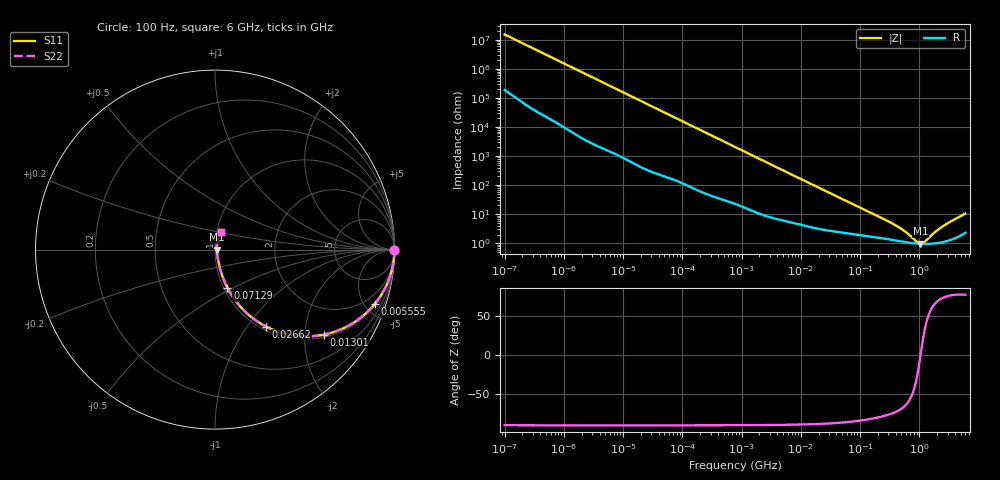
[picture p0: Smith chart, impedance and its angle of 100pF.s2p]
!Murata Part Number: GRM033R61E101KA01
!These Parameters are Measured in Series Mode Connection
!  o--ll--o
!Port1  Port2
!  o------o
!Operation Temp=25[degC], DC Bias Voltage=0[V]
!Freq. Start=100[Hz] Stop=6[GHz], 401[Steps]
!Data Generated on Aug 1, 2022
# Hz S RI R 50
!Freq.(Hz) S11(Real) S11(Imag) S21(Real) S21(Imag) S12(Real) S12(Imag) S22(Real) S22(Imag)
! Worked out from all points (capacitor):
!   401 points, 100 Hz to 6 GHz, reference 50 ohm
!   read as one part in series: C = 103 pF near 109.4 Hz
!   lowest |Z| = 957 mohm at 1.047 GHz (marker M1)
!   series resonance near 1.05 GHz, so ESL is about 220 pH
!   S11 on the Smith chart (normalised r, x): 100 Hz: open; 5.555 MHz: 1.12, -5.81; 13.01 MHz: 1.08, -2.51; 26.62 MHz: 1.06, -1.23; 71.29 MHz: 1.04, -0.47; 6 GHz: 1.05, +0.20
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100  1 -6.51e-06  8.01e-08 6.51e-06  8.01e-08 6.51e-06  1 -6.51e-06
1403.71  1 -9.03e-05  5.31e-07 9.03e-05  5.31e-07 9.03e-05  1 -9.03e-05
2008.354  1 -0.000129  7.05e-07 0.000129  7.05e-07 0.000129  1 -0.000129
40334.87  1 -0.00257  2.19e-05 0.00257  2.19e-05 0.00257  1 -0.00257
774596.7  0.9971 -0.0484  0.00289 0.0484  0.00289 0.0484  0.9971 -0.0484
2268635  0.9787 -0.138  0.0213 0.138  0.0213 0.138  0.9787 -0.138
5554849  0.8895 -0.3038  0.1105 0.3038  0.1105 0.3038  0.8895 -0.3038
8311524  0.7863 -0.3979  0.2137 0.3979  0.2137 0.3979  0.7863 -0.3979
1.300572e7  0.608 -0.4733  0.392 0.4733  0.392 0.4733  0.608 -0.4733
1.555665e7  0.5238 -0.4831  0.4762 0.4831  0.4762 0.4831  0.5238 -0.4831
2.662321e7  0.285 -0.4292  0.715 0.4292  0.715 0.4292  0.285 -0.4292
4.165952e7  0.1514 -0.3289  0.8486 0.3289  0.8486 0.3289  0.1514 -0.3289
7.129496e7  0.0696 -0.2136  0.9304 0.2136  0.9304 0.2136  0.0696 -0.2136
1.395531e8  0.0307 -0.1153  0.9693 0.1153  0.9693 0.1153  0.0307 -0.1153
3.124326e8  0.0161 -0.0512  0.9839 0.0512  0.9839 0.0512  0.0161 -0.0512
5.346885e8  0.0118 -0.0255  0.9882 0.0255  0.9882 0.0255  0.0118 -0.0255
9.150511e8  0.00967 -0.005  0.9903 0.005  0.9903 0.005  0.00967 -0.005
1.046602e9  0.00948 -0.000112  0.9905 0.000112  0.9905 0.000112  0.00948 -0.000112
1.197065e9  0.00943 0.00481  0.9906 -0.00481  0.9906 -0.00481  0.00943 0.00481
1.791126e9  0.0102 0.0206  0.9898 -0.0206  0.9898 -0.0206  0.0102 0.0206
2.562649e9  0.0124 0.0372  0.9876 -0.0372  0.9876 -0.0372  0.0124 0.0372
6e9  0.0321 0.0967  0.9679 -0.0967  0.9679 -0.0967  0.0321 0.0967
